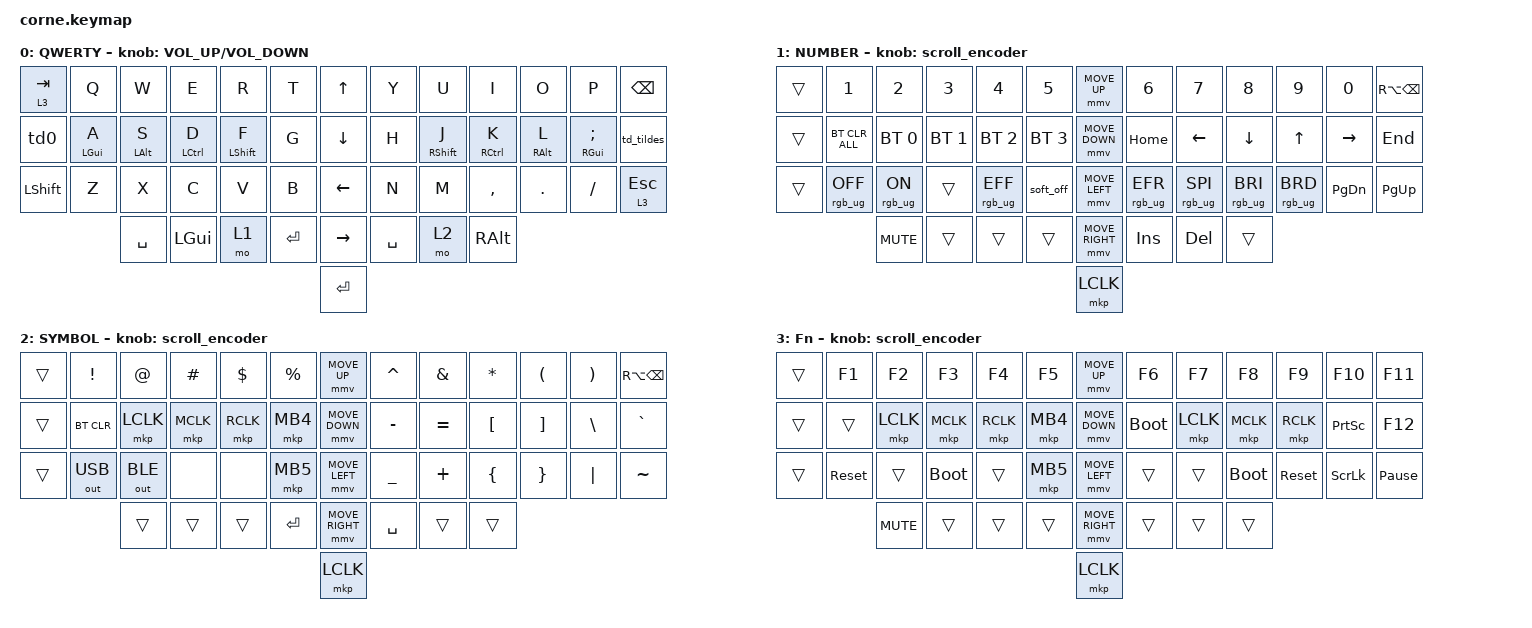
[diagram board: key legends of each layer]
#include <behaviors/mouse_keys.dtsi>
#include <behaviors.dtsi>
#include <dt-bindings/zmk/bt.h>
#include <dt-bindings/zmk/keys.h>
#include <dt-bindings/zmk/mouse.h>
#include <dt-bindings/zmk/outputs.h>
#include <dt-bindings/zmk/rgb.h>

#define ZMK_MOUSE_DEFAULT_MOVE_VAL 1200  // 600
#define ZMK_MOUSE_DEFAULT_SCRL_VAL 20    // 10
#define U_MS_U &mmv MOVE_UP
#define U_MS_D &mmv MOVE_DOWN
#define U_MS_L &mmv MOVE_LEFT
#define U_MS_R &mmv MOVE_RIGHT

&soft_off {
    hold-time-ms = <2000>; // Only turn off it the key is held for 2 seconds or longer.
};

/ {
    behaviors {
        td0: td0 {
            compatible = "zmk,behavior-tap-dance";
            label = "TD0";
            #binding-cells = <0>;
            bindings = <&kp LCTRL>, <&kp CAPS>;
        };

        td_tildes: tap_dance_0 {
            compatible = "zmk,behavior-tap-dance";
            #binding-cells = <0>;
            tapping-term-ms = <300>;
            bindings = <&kp SQT>, <&kp RA(E)>;
        };

        mmv {
            acceleration-exponent = <1>;      // 1
            time-to-max-speed-ms = <900>;    // 40
            delay-ms = <0>;                   // 0
        };

        msc {
            acceleration-exponent = <1>;      // 0
            time-to-max-speed-ms = <400>;      // 500
            delay-ms = <0>;                   // 10
        };

        bhm: balanced_homerow_mods {
            compatible = "zmk,behavior-hold-tap";
            label = "HOMEROW_MODS";
            #binding-cells = <2>;
            tapping-term-ms = <200>;    // <---[[moderate duration]]
            quick-tap-ms = <0>;
            flavor = "balanced";
            bindings = <&kp>, <&kp>;
        };

        hml: home_row_mod_left {
            compatible = "zmk,behavior-hold-tap";
            #binding-cells = <2>;
            flavor = "balanced";
            require-prior-idle-ms = <150>;
            tapping-term-ms = <280>;
            quick-tap-ms = <175>;
            bindings = <&kp>, <&kp>;
            hold-trigger-key-positions = <21 22 23 24 25 26 27 28 29 30 31 32 33 34 35 36 37 38 39 40 41>; 
            hold-trigger-on-release;
        };

        hmr: home_row_mod_right {
            compatible = "zmk,behavior-hold-tap";
            #binding-cells = <2>;
            flavor = "balanced";
            require-prior-idle-ms = <150>;
            tapping-term-ms = <280>;
            quick-tap-ms = <175>;
            bindings = <&kp>, <&kp>;
	        hold-trigger-key-positions = <0 1 2 3 4 5 6 7 8 9 10 11 12 13 14 15 16 17 18 19 20>;
            hold-trigger-on-release;
        };
    };

    macros {
        cmd_shift_3: cmd_shift_3 {
            compatible = "zmk,behavior-macro";
            #binding-cells = <0>;
            wait-ms = <10>;       // time between each key event
            tap-ms  = <10>;       // hold duration for each key
            bindings = <
                &kp LSHFT        // press Left Shift
                &kp LGUI         // then press Command
                &kp E            // then tap “E”
            >;
        };
        cmd_shift_4: cmd_shift_4 {
            compatible = "zmk,behavior-macro";
            #binding-cells = <0>;
            wait-ms = <10>;       // time between each key event
            tap-ms  = <10>;       // hold duration for each key
            bindings = <
                &kp LSHFT        // press Left Shift
                &kp LGUI         // then press Command
                &kp R            // then tap “R”
            >;
        };
        cmd_shift_5: cmd_shift_5 {
            compatible = "zmk,behavior-macro";
            #binding-cells = <0>;
            wait-ms = <10>;       // time between each key event
            tap-ms  = <10>;       // hold duration for each key
            bindings = <
                &kp LSHFT        // press Left Shift
                &kp LGUI         // then press Command
                &kp T            // then tap “T”
            >;
        };
    };

    rgb_encoder: rgb_encoder {
        compatible = "zmk,behavior-sensor-rotate";
        label = "RGB_ENCODER";
        #sensor-binding-cells = <0>;
        bindings = <&rgb_ug RGB_BRI>, <&rgb_ug RGB_BRD>;
    };

    scroll_encoder: scroll_encoder {
        compatible = "zmk,behavior-sensor-rotate";
        #sensor-binding-cells = <0>;
        bindings = <&msc SCRL_DOWN>, <&msc SCRL_UP>;

        tap-ms = <30>;
    };

    keymap {
        compatible = "zmk,keymap";


        default_layer {
            display-name = "QWERTY";

            // --------------------------------------------------------------------------------
            // |  TAB |  Q  |  W  |  E  |  R  |  T  |                ↑    |  Y  |  U   |  I  |  O  |  P  | BKSP |      &kp UP_ARROW 
            // | SHIFT |  A  |  S  |  D  |  F  |  G  |               ↓    |  H  |  J   |  K  |  L  |  ;  |  '   | 
            // | CTRL |  Z  |  X  |  C  |  V  |  B  |                ←    |  N  |  M   |  ,  |  .  |  /  | ESC  |
            //                    | GUI | LWR | ENT |                →    | SPC | RSE  | ALT |
            //                                                      enter

            bindings = <
&lt 3 TAB    &kp Q  &kp W      &kp E     &kp R  &kp T          &kp UP_ARROW     &kp Y        &kp U  &kp I      &kp O    &kp P     &kp BSPC
// &td0       &kp A  &kp S      &kp D     &kp F  &kp G          &kp DOWN_ARROW   &kp H        &kp J  &kp K      &kp L    &kp SEMI  &td_tildes
// &td0    &hml LCTRL A    &hml LGUI S    &hml LALT D    &hml LSHIFT F    &kp G	&kp DOWN_ARROW	&kp H    &hmr RGUI J    &hmr LALT K    &hmr RCTRL L    &hmr RSHIFT SEMI    &td_tildes
&td0    &hml LGUI A    &hml LALT S    &hml LCTRL D    &hml LSHIFT F    &kp G	&kp DOWN_ARROW	&kp H    &hmr RSHIFT J    &hmr RCTRL K    &hmr RALT L    &hmr RGUI SEMI    &td_tildes
&kp LSHFT  &kp Z  &kp X      &kp C     &kp V  &kp B          &kp LEFT_ARROW   &kp N        &kp M  &kp COMMA  &kp DOT  &kp FSLH  &lt 3 ESC
                  &kp SPACE  &kp LGUI  &mo 1  &kp RET        &kp RIGHT_ARROW  &kp SPACE  &mo 2  &kp RALT
                                                             &kp ENTER
            >;

            label = "QWERTY";
            sensor-bindings = <&inc_dec_kp C_VOLUME_UP C_VOLUME_DOWN>;
        };

        lower_layer {
            display-name = "NUMBER";

            // -----------------------------------------------------------------------------------------
            // |  TAB |  1  |  2  |  3  |  4  |  5  |   |  6  |  7  |  8  |  9  |  0  | BKSP |
            // | BTCLR| BT1 | BT2 | BT3 | BT4 | BT5 |   | LFT | DWN |  UP | RGT |     |      |
            // | SHFT |     |     |     |     |     |   |     |     |     |     |     |      |
            //                    | GUI |     | SPC |   | ENT |     | ALT |

            bindings = <
&trans  &kp N1           &kp N2          &kp N3        &kp N4        &kp N5             &mmv MOVE_UP     &kp N6           &kp N7           &kp N8           &kp N9           &kp N0    &kp RA(BSPC)
&trans  &bt BT_CLR_ALL   &bt BT_SEL 0    &bt BT_SEL 1  &bt BT_SEL 2  &bt BT_SEL 3       &mmv MOVE_DOWN   &kp HOME         &kp LEFT         &kp DOWN         &kp UP           &kp RIGHT        &kp END
&trans  &rgb_ug RGB_OFF  &rgb_ug RGB_ON  &trans        &rgb_ug RGB_EFF     &soft_off    &mmv MOVE_LEFT   &rgb_ug RGB_EFR  &rgb_ug RGB_SPI  &rgb_ug RGB_BRI  &rgb_ug RGB_BRD  &kp PG_DN        &kp PG_UP
                         &kp C_MUTE      &trans        &trans        &trans             &mmv MOVE_RIGHT  &kp INS          &kp DEL          &trans
                                                                                        &mkp LCLK
            >;

            label = "NUMBER";
            sensor-bindings = <&scroll_encoder>;
        };

        raise_layer {
            display-name = "SYMBOL";

            // -----------------------------------------------------------------------------------------
            // |  TAB |  !  |  @  |  #  |  $  |  %  |   |  ^  |  &  |  *  |  (  |  )  | BKSP |
            // | CTRL |     |     |     |     |     |   |  -  |  =  |  [  |  ]  |  \  |  `   |
            // | SHFT |     |     |     |     |     |   |  _  |  +  |  {  |  }  | "|" |  ~   |
            //                    | GUI |     | ENT |   | SPC |     | ALT |

            bindings = <
&trans  &kp EXCL      &kp AT        &kp HASH   &kp DLLR   &kp PRCNT    &mmv MOVE_UP     &kp CARET  &kp AMPS   &kp ASTRK  &kp LPAR  &kp RPAR  &kp RA(BSPC)
&trans  &bt BT_CLR    &mkp LCLK     &mkp MCLK  &mkp RCLK  &mkp MB4     &mmv MOVE_DOWN   &kp MINUS  &kp EQUAL  &kp LBKT   &kp RBKT  &kp BSLH  &kp GRAVE
&trans  &out OUT_USB  &out OUT_BLE  &none      &none      &mkp MB5     &mmv MOVE_LEFT   &kp UNDER  &kp PLUS   &kp LBRC   &kp RBRC  &kp PIPE  &kp TILDE
                      &trans        &trans     &trans     &kp RET    &mmv MOVE_RIGHT  &kp SPACE    &trans     &trans
                                                                       &mkp LCLK
            >;

            label = "SYMBOL";
            sensor-bindings = <&scroll_encoder>;
        };

        layer_3 {
            display-name = "Fn";
            bindings = <
&trans  &kp F1      &kp F2      &kp F3       &kp F4     &kp F5      &mmv MOVE_UP     &kp F6       &kp F7     &kp F8       &kp F9      &kp F10          &kp F11
&trans  &trans      &mkp LCLK   &mkp MCLK    &mkp RCLK  &mkp MB4    &mmv MOVE_DOWN   &bootloader  &mkp LCLK  &mkp MCLK    &mkp RCLK   &kp PRINTSCREEN  &kp F12
&trans  &sys_reset  &trans      &bootloader  &trans     &mkp MB5    &mmv MOVE_LEFT   &trans       &trans     &bootloader  &sys_reset  &kp SCROLLLOCK   &kp PAUSE_BREAK
                    &kp C_MUTE  &trans       &trans     &trans      &mmv MOVE_RIGHT  &trans       &trans     &trans
                                                                    &mkp LCLK
            >;

            label = "FN";
            sensor-bindings = <&scroll_encoder>;
        };
    };
};
